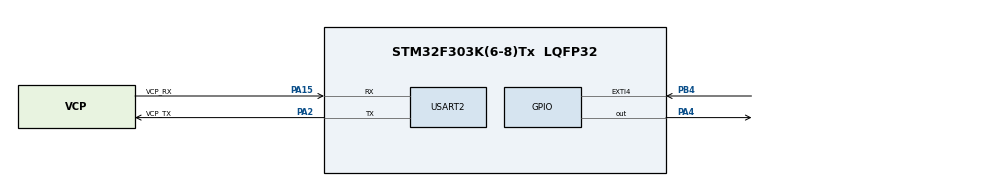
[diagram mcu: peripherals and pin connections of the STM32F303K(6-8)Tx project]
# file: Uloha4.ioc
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Mcu.Family=STM32F3
Mcu.Name=STM32F303K(6-8)Tx
Mcu.Package=LQFP32
NVIC.EXTI4_IRQn=true\:0\:0\:false\:false\:true\:true\:true
NVIC.PriorityGroup=NVIC_PRIORITYGROUP_4
PA13.GPIO_Label=SWDIO
PA13.Mode=Serial_Wire
PA13.Signal=SYS_JTMS-SWDIO
PA14.GPIO_Label=SWCLK
PA14.Mode=Serial_Wire
PA14.Signal=SYS_JTCK-SWCLK
PA15.GPIO_Label=VCP_RX
PA15.Mode=Asynchronous
PA15.Signal=USART2_RX
PA2.GPIO_Label=VCP_TX
PA2.Mode=Asynchronous
PA2.Signal=USART2_TX
PA4.Signal=GPIO_Output
PB4.GPIO_ModeDefaultEXTI=GPIO_MODE_IT_RISING_FALLING
PB4.GPIO_PuPd=GPIO_PULLUP
PB4.Signal=GPXTI4
PF0\ /\ OSC_IN.GPIO_Label=MCO
PF0\ /\ OSC_IN.Mode=HSE-External-Clock-Source
PF0\ /\ OSC_IN.Signal=RCC_OSC_IN
ProjectManager.HeapSize=0x200
ProjectManager.StackSize=0x400
ProjectManager.TargetToolchain=STM32CubeIDE
RCC.AHBFreq_Value=8000000
RCC.APB1Freq_Value=8000000
RCC.APB2Freq_Value=8000000
RCC.CortexFreq_Value=8000000
RCC.HSE_VALUE=8000000
RCC.HSI_VALUE=8000000
RCC.SYSCLKFreq_VALUE=8000000
USART2.VirtualMode-Asynchronous=VM_ASYNC
board=NUCLEO-F303K8

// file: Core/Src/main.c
/* USER CODE BEGIN Header */
/**
  ******************************************************************************
  * @file           : main.c
  * @brief          : Main program body
  ******************************************************************************
  * @attention
  *
  * <h2><center>&copy; Copyright (c) 2021 STMicroelectronics.
  * All rights reserved.</center></h2>
  *
  * This software component is licensed by ST under BSD 3-Clause license,
  * the "License"; You may not use this file except in compliance with the
  * License. You may obtain a copy of the License at:
  *                        opensource.org/licenses/BSD-3-Clause
  *
  ******************************************************************************
  */
/* USER CODE END Header */
#include "main.h"

/* USER CODE BEGIN Includes */
#include "assignement.h"

/* USER CODE END Includes */

/* USER CODE BEGIN PTD */
void SystemClock_Config(void);
uint8_t checkButtonState(GPIO_TypeDef* PORT, uint8_t PIN, uint8_t edge, uint8_t samples_window, uint8_t samples_required);

uint8_t switchState = 0;
/* USER CODE END PTD */

void SystemClock_Config(void);
static void MX_GPIO_Init(void);
static void MX_USART2_UART_Init(void);

int main(void)
{

  /* MCU Configuration--------------------------------------------------------*/

  /* Reset of all peripherals, Initializes the Flash interface and the Systick. */

  LL_APB2_GRP1_EnableClock(LL_APB2_GRP1_PERIPH_SYSCFG);
  LL_APB1_GRP1_EnableClock(LL_APB1_GRP1_PERIPH_PWR);

  NVIC_SetPriorityGrouping(NVIC_PRIORITYGROUP_4);

  /* System interrupt init*/

  /* Configure the system clock */
  SystemClock_Config();

  /* Initialize all configured peripherals */
  MX_GPIO_Init();
  MX_USART2_UART_Init();

  /* Infinite loop */
  while (1)
  {
	  if(switchState)
	  {
		  GPIOA->BSRR |= GPIO_BSRR_BS_4;
		  for(uint16_t i=0; i<0xFF00; i++){}
		  GPIOA->BRR |= GPIO_BRR_BR_4;
		  for(uint16_t i=0; i<0xFF00; i++){}
	  }
	  else
	  {
		  GPIOA->BRR |= GPIO_BRR_BR_4;
	  }
  }
}

void SystemClock_Config(void)
{
  LL_FLASH_SetLatency(LL_FLASH_LATENCY_0);
  while(LL_FLASH_GetLatency()!= LL_FLASH_LATENCY_0)
  {
  }
  LL_RCC_HSI_Enable();

   /* Wait till HSI is ready */
  while(LL_RCC_HSI_IsReady() != 1)
  {

  }
  LL_RCC_HSI_SetCalibTrimming(16);
  LL_RCC_SetAHBPrescaler(LL_RCC_SYSCLK_DIV_1);
  LL_RCC_SetAPB1Prescaler(LL_RCC_APB1_DIV_1);
  LL_RCC_SetAPB2Prescaler(LL_RCC_APB2_DIV_1);
  LL_RCC_SetSysClkSource(LL_RCC_SYS_CLKSOURCE_HSI);

   /* Wait till System clock is ready */
  while(LL_RCC_GetSysClkSource() != LL_RCC_SYS_CLKSOURCE_STATUS_HSI)
  {

  }
  LL_Init1msTick(8000000);
  LL_SetSystemCoreClock(8000000);
}

static void MX_USART2_UART_Init(void)
{

  LL_USART_InitTypeDef USART_InitStruct = {0};

  LL_GPIO_InitTypeDef GPIO_InitStruct = {0};

  /* Peripheral clock enable */
  LL_APB1_GRP1_EnableClock(LL_APB1_GRP1_PERIPH_USART2);

  LL_AHB1_GRP1_EnableClock(LL_AHB1_GRP1_PERIPH_GPIOA);
  /**USART2 GPIO Configuration
  PA2   ------> USART2_TX
  PA15   ------> USART2_RX
  */
  GPIO_InitStruct.Pin = VCP_TX_Pin|VCP_RX_Pin;
  GPIO_InitStruct.Mode = LL_GPIO_MODE_ALTERNATE;
  GPIO_InitStruct.Speed = LL_GPIO_SPEED_FREQ_HIGH;
  GPIO_InitStruct.OutputType = LL_GPIO_OUTPUT_PUSHPULL;
  GPIO_InitStruct.Pull = LL_GPIO_PULL_NO;
  GPIO_InitStruct.Alternate = LL_GPIO_AF_7;
  LL_GPIO_Init(GPIOA, &GPIO_InitStruct);

  USART_InitStruct.BaudRate = 38400;
  USART_InitStruct.DataWidth = LL_USART_DATAWIDTH_8B;
  USART_InitStruct.StopBits = LL_USART_STOPBITS_1;
  USART_InitStruct.Parity = LL_USART_PARITY_NONE;
  USART_InitStruct.TransferDirection = LL_USART_DIRECTION_TX_RX;
  USART_InitStruct.HardwareFlowControl = LL_USART_HWCONTROL_NONE;
  USART_InitStruct.OverSampling = LL_USART_OVERSAMPLING_16;
  LL_USART_Init(USART2, &USART_InitStruct);
  LL_USART_DisableIT_CTS(USART2);
  LL_USART_ConfigAsyncMode(USART2);
  LL_USART_Enable(USART2);

}

static void MX_GPIO_Init(void)
{
  LL_EXTI_InitTypeDef EXTI_InitStruct = {0};
  LL_GPIO_InitTypeDef GPIO_InitStruct = {0};

  /* GPIO Ports Clock Enable */
  LL_AHB1_GRP1_EnableClock(LL_AHB1_GRP1_PERIPH_GPIOF);
  LL_AHB1_GRP1_EnableClock(LL_AHB1_GRP1_PERIPH_GPIOA);
  LL_AHB1_GRP1_EnableClock(LL_AHB1_GRP1_PERIPH_GPIOB);

  /**/
  LL_GPIO_ResetOutputPin(GPIOA, LL_GPIO_PIN_4);

  /**/
  GPIO_InitStruct.Pin = LL_GPIO_PIN_4;
  GPIO_InitStruct.Mode = LL_GPIO_MODE_OUTPUT;
  GPIO_InitStruct.Speed = LL_GPIO_SPEED_FREQ_LOW;
  GPIO_InitStruct.OutputType = LL_GPIO_OUTPUT_PUSHPULL;
  GPIO_InitStruct.Pull = LL_GPIO_PULL_NO;
  LL_GPIO_Init(GPIOA, &GPIO_InitStruct);

  /**/
  LL_SYSCFG_SetEXTISource(LL_SYSCFG_EXTI_PORTB, LL_SYSCFG_EXTI_LINE4);

  /**/
  LL_GPIO_SetPinPull(GPIOB, LL_GPIO_PIN_4, LL_GPIO_PULL_UP);

  /**/
  LL_GPIO_SetPinMode(GPIOB, LL_GPIO_PIN_4, LL_GPIO_MODE_INPUT);

  /**/
  EXTI_InitStruct.Line_0_31 = LL_EXTI_LINE_4;
  EXTI_InitStruct.Line_32_63 = LL_EXTI_LINE_NONE;
  EXTI_InitStruct.LineCommand = ENABLE;
  EXTI_InitStruct.Mode = LL_EXTI_MODE_IT;
  EXTI_InitStruct.Trigger = LL_EXTI_TRIGGER_RISING_FALLING;
  LL_EXTI_Init(&EXTI_InitStruct);

  /* EXTI interrupt init*/
  NVIC_SetPriority(EXTI4_IRQn, NVIC_EncodePriority(NVIC_GetPriorityGrouping(),0, 0));
  NVIC_EnableIRQ(EXTI4_IRQn);

}

/* USER CODE BEGIN 4 */
uint8_t checkButtonState(GPIO_TypeDef* PORT, uint8_t PIN, uint8_t edge, uint8_t samples_window, uint8_t samples_required)
{
	uint8_t button_state = 0, timeout = 0, count=0;

	while(button_state < samples_required && timeout < samples_window)
	{
		if(edge==TRIGGER_RISE){
			if(!(PORT->IDR & (1 << PIN)))
			{
				button_state += 1;
			}
			else
			{
				button_state = 0;
			}
			timeout += 1;
			LL_mDelay(1);
		}
		if(edge==TRIGGER_FALL){
			if((PORT->IDR & (1 << PIN)))
			{
				button_state += 1;
				count=1;
			}
			else
			{
				button_state = 0;

			}
			if(count==1){
			timeout += 1;
			LL_mDelay(1);
			} else{
				timeout += 0;
				LL_mDelay(1);
			}
		}

	}

	if((button_state >= samples_required) && (timeout <= samples_window))
	{
		return 1;
	}
	else
	{
		return 0;
	}
}

/*
void EXTI4_IRQHandler(void)
{
	if(checkButtonState(GPIO_PORT_BUTTON, GPIO_PIN_BUTTON, TRIGGER_RISE, BUTTON_EXTI_SAMPLES_WINDOW, BUTTON_EXTI_SAMPLES_REQUIRED))
	{
		switchState ^= 1;
	}

	//Clear pending register flag
	EXTI->PR |= (EXTI_PR_PIF4);
}
*/

void EXTI4_IRQHandler(void)
{

	if(checkButtonState(GPIO_PORT_BUTTON, GPIO_PIN_BUTTON, TRIGGER_RISE, BUTTON_EXTI_SAMPLES_WINDOW, BUTTON_EXTI_SAMPLES_REQUIRED))
	{
		switchState ^= 1;
	}

  if (LL_EXTI_IsActiveFlag_0_31(LL_EXTI_LINE_4) != RESET)
  {
    LL_EXTI_ClearFlag_0_31(LL_EXTI_LINE_4);

  }

}
/* USER CODE END 4 */

void Error_Handler(void)
{
  __disable_irq();
  while (1)
  {
  }
}

/************************ (C) COPYRIGHT STMicroelectronics *****END OF FILE****/
